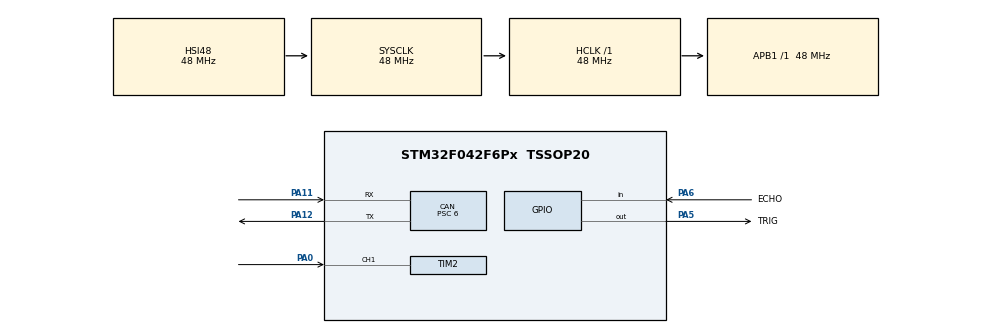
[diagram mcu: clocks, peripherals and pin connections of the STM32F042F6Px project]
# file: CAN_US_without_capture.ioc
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Mcu.Family=STM32F0
VP_SYS_VS_PINREMAP.Mode=PINREMAP
TIM2.Channel-Input_Capture1_from_TI1=TIM_CHANNEL_1
CAN.CalculateBaudRate=500000
PA11.Mode=CAN_Activate
PA6.GPIO_Label=ECHO
CAN.CalculateTimeBit=2000.00
RCC.SYSCLKSource=RCC_SYSCLKSOURCE_HSI48
ProjectManager.StackSize=0x400
PA13.Signal=SYS_SWDIO
PA12.Signal=CAN_TX
CAN.BS2=CAN_BS2_2TQ
CAN.Prescaler=6
CAN.BS1=CAN_BS1_13TQ
ProjectManager.TargetToolchain=STM32CubeIDE
RCC.HCLKFreq_Value=48000000
RCC.AHBFreq_Value=48000000
PA5.Signal=GPIO_Output
board=custom
VP_TIM2_VS_ClockSourceINT.Mode=Internal
PA14.Mode=Serial_Wire
PA13.Mode=Serial_Wire
Mcu.Name=STM32F042F6Px
CAN.CalculateTimeQuantum=125.0
PA0.Signal=S_TIM2_CH1_ETR
RCC.SYSCLKFreq_VALUE=48000000
Mcu.Package=TSSOP20
TIM2.Prescaler=48-1
PA6.Signal=GPIO_Input
PA12.Mode=CAN_Activate
PA5.GPIO_Label=TRIG
PA11.Signal=CAN_RX
SH.S_TIM2_CH1_ETR.0=TIM2_CH1,Input_Capture1_from_TI1
PA14.Signal=SYS_SWCLK
ProjectManager.HeapSize=0x200
RCC.APB1TimFreq_Value=48000000
RCC.APB1Freq_Value=48000000

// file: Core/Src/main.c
/* USER CODE BEGIN Header */
/**
  ******************************************************************************
  * @file           : main.c
  * @brief          : Main program body
  ******************************************************************************
  * @attention
  *
  * <h2><center>&copy; Copyright (c) 2021 STMicroelectronics.
  * All rights reserved.</center></h2>
  *
  * This software component is licensed by ST under BSD 3-Clause license,
  * the "License"; You may not use this file except in compliance with the
  * License. You may obtain a copy of the License at:
  *                        opensource.org/licenses/BSD-3-Clause
  *
  ******************************************************************************
  */
/* USER CODE END Header */
#include "main.h"
#include "can.h"
#include "tim.h"
#include "gpio.h"

/* USER CODE BEGIN Includes */
#include <string.h>
#include <stdio.h>
/* USER CODE END Includes */

/* USER CODE BEGIN PTD */
#define usTIM	TIM2
/* USER CODE END PTD */

/* USER CODE BEGIN PV */
extern CAN_FilterTypeDef sFilterConfig;
uint32_t cann = 0;

volatile uint32_t can1;
volatile uint32_t can2;
volatile uint32_t can_count_RX;
volatile uint32_t can_count_RX_zero;
uint8_t dis2;
CAN_FilterTypeDef sFilterConfig;
CAN_TxHeaderTypeDef can_TX_ID0;
CAN_RxHeaderTypeDef can_RX_Header;
uint32_t TxMailbox;
uint8_t canRXData[8];
uint32_t can_res = 0;
/* USER CODE END PV */

void SystemClock_Config(void);
/* USER CODE BEGIN PFP */
void usDelay(uint32_t uSec);
/* USER CODE END PFP */

/* USER CODE BEGIN 0 */
const float speedOfSound = 0.0343/2;
float distance;
volatile uint32_t numTicks = 0;
/* USER CODE END 0 */

int main(void)
{

  /* MCU Configuration--------------------------------------------------------*/

  /* Reset of all peripherals, Initializes the Flash interface and the Systick. */
  HAL_Init();

  /* Configure the system clock */
  SystemClock_Config();

  /* Initialize all configured peripherals */
  MX_GPIO_Init();
  MX_CAN_Init();
  MX_TIM2_Init();
  /* USER CODE BEGIN 2 */

  CAN_Init();
  HAL_CAN_ConfigFilter(&hcan, &sFilterConfig);
  HAL_CAN_Start(&hcan);
  HAL_CAN_ActivateNotification(&hcan, CAN_IT_RX_FIFO0_MSG_PENDING);
  /* USER CODE END 2 */

  /* Infinite loop */
  /* USER CODE BEGIN WHILE */
  uint32_t time = 0;
  while (1)
  {
    /* USER CODE END WHILE */

    /* USER CODE BEGIN 3 */
	  HAL_GPIO_WritePin(TRIG_GPIO_Port, TRIG_Pin, GPIO_PIN_RESET);
		  usDelay(3);
		  //1. Output 10 usec TRIG
		  		HAL_GPIO_WritePin(TRIG_GPIO_Port, TRIG_Pin, GPIO_PIN_SET);
		  		usDelay(10);
		  		HAL_GPIO_WritePin(TRIG_GPIO_Port, TRIG_Pin, GPIO_PIN_RESET);

		  		//2. Wait for ECHO pin rising edge
		  		time = HAL_GetTick();
		  		while(HAL_GPIO_ReadPin(ECHO_GPIO_Port, ECHO_Pin) == GPIO_PIN_RESET){
		  			if (HAL_GetTick() - time > 2000) break;
		  		}

		  		//3. Start measuring ECHO pulse width in usec
		  		numTicks = 0;
		  		while(HAL_GPIO_ReadPin(ECHO_GPIO_Port, ECHO_Pin) == GPIO_PIN_SET)
		  		{
		  			numTicks++;
		  			usDelay(2); //2.8usec
		  		};

		  		//4. Estimate distance in cm
		  		distance = (numTicks + 0.0f)*2.8*speedOfSound*1.75;
		  		CAN_Send_Data(distance);
		  		//5. Print to UART terminal for debugging
		  		//sprintf(uartBuf, "Distance (cm)  = %.1f\r\n", distance);
		  	//	HAL_UART_Transmit(&huart2, (uint8_t *)uartBuf, strlen(uartBuf), 100);
		  		CAN_RX();
		  		HAL_Delay(100);

  }
  /* USER CODE END 3 */
}

void SystemClock_Config(void)
{
  RCC_OscInitTypeDef RCC_OscInitStruct = {0};
  RCC_ClkInitTypeDef RCC_ClkInitStruct = {0};

  /** Initializes the RCC Oscillators according to the specified parameters
  * in the RCC_OscInitTypeDef structure.
  */
  RCC_OscInitStruct.OscillatorType = RCC_OSCILLATORTYPE_HSI48;
  RCC_OscInitStruct.HSI48State = RCC_HSI48_ON;
  RCC_OscInitStruct.PLL.PLLState = RCC_PLL_NONE;
  if (HAL_RCC_OscConfig(&RCC_OscInitStruct) != HAL_OK)
  {
    Error_Handler();
  }
  /** Initializes the CPU, AHB and APB buses clocks
  */
  RCC_ClkInitStruct.ClockType = RCC_CLOCKTYPE_HCLK|RCC_CLOCKTYPE_SYSCLK
                              |RCC_CLOCKTYPE_PCLK1;
  RCC_ClkInitStruct.SYSCLKSource = RCC_SYSCLKSOURCE_HSI48;
  RCC_ClkInitStruct.AHBCLKDivider = RCC_SYSCLK_DIV1;
  RCC_ClkInitStruct.APB1CLKDivider = RCC_HCLK_DIV1;

  if (HAL_RCC_ClockConfig(&RCC_ClkInitStruct, FLASH_LATENCY_1) != HAL_OK)
  {
    Error_Handler();
  }
}

/* USER CODE BEGIN 4 */
void usDelay(uint32_t uSec)
{
	if(uSec < 2) uSec = 2;
	usTIM->ARR = uSec - 1; 	/*sets the value in the auto-reload register*/
	usTIM->EGR = 1; 			/*Re-initialises the timer*/
	usTIM->SR &= ~1; 		//Resets the flag
	usTIM->CR1 |= 1; 		//Enables the counter
	while((usTIM->SR&0x0001) != 1);
	usTIM->SR &= ~(0x0001);
}
/* USER CODE END 4 */

void Error_Handler(void)
{
  __disable_irq();
  while (1)
  {
  }
}

/************************ (C) COPYRIGHT STMicroelectronics *****END OF FILE****/
